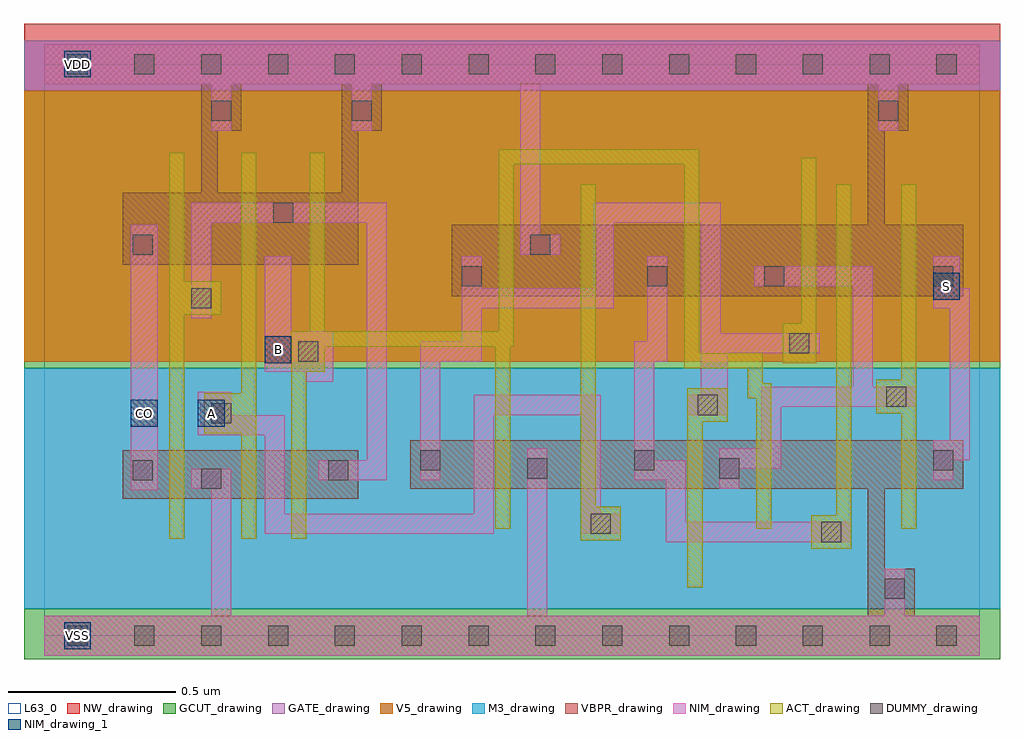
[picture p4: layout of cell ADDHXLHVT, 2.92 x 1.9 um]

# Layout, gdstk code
import gdstk
lib = gdstk.Library(unit=1e-6, precision=5e-10)
def R(c, l, rs):  # rectangles x0, y0, x1, y1
    for r in rs: c.add(gdstk.rectangle(r[:2], r[2:], *l))
def A(c, l, x, y, w, h, nx, ny, dx, dy):  # array of equal rectangles
    R(c, l, [(x+i*dx, y+j*dy, x+i*dx+w, y+j*dy+h) for i in range(nx) for j in range(ny)])
def P(c, l, *ps):  # polygons
    for p in ps: c.add(gdstk.Polygon(p, *l))
VBPR_drawing = (1, 0)
NW_drawing = (2, 0)
ACT_drawing = (3, 0)
GATE_drawing = (4, 0)
GCUT_drawing = (5, 0)
DUMMY_drawing = (6, 0)
NIM_drawing = (7, 0)
NIM_drawing_1 = (7, 1)
M3_drawing = (18, 0)
V5_drawing = (23, 0)
L63_0 = (63, 0)

addhxlhvt = lib.new_cell('ADDHXLHVT')
R(addhxlhvt, VBPR_drawing, [(0,-0.06,2.8,0.06), (0.235,0.41,0.94,0.555), (0,1.65,2.8,1.77)])
P(addhxlhvt, VBPR_drawing, [(2.75,1.23),(2.515,1.23),(2.515,1.51),(2.585,1.51),(2.585,1.65),(2.465,1.65),(2.465,1.23),(1.22,1.23),(1.22,1.015),(2.75,1.015)],
  [(2.75,0.585),(1.095,0.585),(1.095,0.44),(2.465,0.44),(2.465,0.06),(2.605,0.06),(2.605,0.2),(2.515,0.2),(2.515,0.44),(2.75,0.44)],
  [(1.01,1.65),(0.89,1.65),(0.89,1.325),(0.52,1.325),(0.52,1.51),(0.59,1.51),(0.59,1.65),(0.47,1.65),(0.47,1.325),(0.235,1.325),(0.235,1.11),(0.94,1.11),(0.94,1.51),(1.01,1.51)])
R(addhxlhvt, NW_drawing, [(-0.06,0.82,2.86,1.83)])
P(addhxlhvt, ACT_drawing, [(0.375,1.445),(0.42,1.445),(0.42,1.06),(0.53,1.06),(0.53,0.96),(0.42,0.96),(0.42,0.29),(0.375,0.29)],
  [(0.59,1.445),(0.635,1.445),(0.635,0.29),(0.59,0.29),(0.59,0.605),(0.48,0.605),(0.48,0.725),(0.59,0.725)],
  [(0.795,1.445),(0.84,1.445),(0.84,0.91),(1.36,0.91),(1.36,1.455),(1.96,1.455),(1.96,0.845),(2.15,0.845),(2.15,0.755),(2.175,0.755),(2.175,0.32),(2.13,0.32),(2.13,0.71),(2.105,0.71),(2.105,0.8),(1.915,0.8),(1.915,1.41),(1.405,1.41),(1.405,0.865),(1.395,0.865),(1.395,0.32),(1.35,0.32),(1.35,0.865),(0.84,0.865),(0.84,0.79),(0.785,0.79),(0.785,0.29),(0.74,0.29),(0.74,0.91),(0.795,0.91)],
  [(1.605,1.35),(1.65,1.35),(1.65,0.385),(1.725,0.385),(1.725,0.285),(1.605,0.285)],
  [(2.265,1.43),(2.31,1.43),(2.31,0.815),(2.21,0.815),(2.21,0.935),(2.265,0.935)],
  [(2.37,1.35),(2.415,1.35),(2.415,0.26),(2.295,0.26),(2.295,0.36),(2.37,0.36)],
  [(2.565,1.35),(2.61,1.35),(2.61,0.32),(2.565,0.32),(2.565,0.665),(2.49,0.665),(2.49,0.765),(2.565,0.765)],
  [(1.925,0.74),(2.045,0.74),(2.045,0.64),(1.97,0.64),(1.97,0.145),(1.925,0.145)])
R(addhxlhvt, GATE_drawing, [(-0.06,0.08,2.86,0.8), (-0.06,1.63,2.86,1.78)])
R(addhxlhvt, GCUT_drawing, [(-0.06,-0.07,2.86,0.08), (-0.06,0.8,2.86,1.63)])
A(addhxlhvt, DUMMY_drawing, 0.07, -0.03, 0.06, 0.06, 14, 2, 0.2, 1.71)
R(addhxlhvt, DUMMY_drawing, [(2.515,0.11,2.575,0.17), (2.325,0.28,2.385,0.34), (1.635,0.305,1.695,0.365), (0.47,0.44,0.53,0.5), (0.265,0.465,0.325,0.525), (0.85,0.465,0.91,0.525), (1.445,0.47,1.505,0.53), (2.02,0.47,2.08,0.53), (1.125,0.495,1.185,0.555), (1.765,0.495,1.825,0.555), (2.66,0.495,2.72,0.555), (0.5,0.635,0.56,0.695), (1.955,0.66,2.015,0.72), (2.52,0.685,2.58,0.745), (0.76,0.82,0.82,0.88), (2.23,0.845,2.29,0.905), (0.44,0.98,0.5,1.04), (1.25,1.045,1.31,1.105), (1.805,1.045,1.865,1.105), (2.155,1.045,2.215,1.105), (2.66,1.045,2.72,1.105), (0.265,1.14,0.325,1.2), (1.455,1.14,1.515,1.2), (0.685,1.235,0.745,1.295), (0.5,1.54,0.56,1.6), (0.92,1.54,0.98,1.6), (2.495,1.54,2.555,1.6)])
R(addhxlhvt, NIM_drawing, [(1.445,0.06,1.505,0.56), (2.515,0.06,2.575,0.2), (0.26,0.435,0.34,1.23), (0.5,1.51,0.56,1.65), (0.92,1.51,0.98,1.65), (2.495,1.51,2.555,1.65)])
P(addhxlhvt, NIM_drawing, [(0.56,0.5),(0.44,0.5),(0.44,0.44),(0.5,0.44),(0.5,0.06),(0.56,0.06)],
  [(1.545,1.2),(1.485,1.2),(1.485,1.65),(1.425,1.65),(1.425,1.14),(1.545,1.14)],
  [(1.645,1.295),(2.025,1.295),(2.025,0.905),(2.32,0.905),(2.32,0.845),(2.045,0.845),(2.045,0.66),(1.925,0.66),(1.925,0.72),(1.965,0.72),(1.965,1.235),(1.705,1.235),(1.705,0.98),(1.31,0.98),(1.31,0.82),(1.185,0.82),(1.185,0.465),(1.125,0.465),(1.125,0.88),(1.25,0.88),(1.25,1.135),(1.31,1.135),(1.31,1.04),(1.645,1.04)],
  [(0.44,1.295),(1.025,1.295),(1.025,0.465),(0.82,0.465),(0.82,0.525),(0.965,0.525),(0.965,1.235),(0.5,1.235),(0.5,0.95),(0.44,0.95)],
  [(0.66,1.135),(0.74,1.135),(0.74,0.91),(0.865,0.91),(0.865,0.76),(0.785,0.76),(0.785,0.79),(0.66,0.79)],
  [(0.46,0.73),(0.56,0.73),(0.56,0.66),(0.72,0.66),(0.72,0.365),(1.285,0.365),(1.285,0.72),(1.665,0.72),(1.665,0.365),(1.725,0.365),(1.725,0.305),(1.605,0.305),(1.605,0.66),(1.345,0.66),(1.345,0.305),(0.66,0.305),(0.66,0.6),(0.46,0.6)],
  [(1.805,1.135),(1.865,1.135),(1.865,0.82),(1.825,0.82),(1.825,0.525),(1.92,0.525),(1.92,0.34),(2.415,0.34),(2.415,0.28),(1.86,0.28),(1.86,0.465),(1.765,0.465),(1.765,0.88),(1.805,0.88)],
  [(2.66,1.135),(2.74,1.135),(2.74,1.04),(2.77,1.04),(2.77,0.525),(2.72,0.525),(2.72,0.465),(2.66,0.465),(2.66,0.585),(2.71,0.585),(2.71,0.98),(2.66,0.98)],
  [(2.125,1.105),(2.48,1.105),(2.48,0.745),(2.61,0.745),(2.61,0.685),(2.205,0.685),(2.205,0.5),(2.08,0.5),(2.08,0.44),(2.02,0.44),(2.02,0.56),(2.145,0.56),(2.145,0.745),(2.42,0.745),(2.42,1.045),(2.125,1.045)])
R(addhxlhvt, NIM_drawing_1, [(0.06,-0.04,0.14,0.04), (0.26,0.625,0.34,0.705), (0.46,0.625,0.54,0.705), (0.66,0.815,0.74,0.895), (2.66,1.005,2.74,1.085), (0.06,1.67,0.14,1.75)])
R(addhxlhvt, M3_drawing, [(-0.06,0.08,2.86,0.8)])
R(addhxlhvt, V5_drawing, [(-0.06,0.82,2.86,1.63)])
R(addhxlhvt, L63_0, [(0,0,2.8,1.71)])
addhxlhvt.add(gdstk.FlexPath([(0,0),(2.8,0)], 0.12, ends="flush", simple_path=True, layer=7, datatype=0))  # NIM_drawing
addhxlhvt.add(gdstk.FlexPath([(0,1.71),(2.8,1.71)], 0.12, ends="flush", simple_path=True, layer=7, datatype=0))  # NIM_drawing
addhxlhvt.add(gdstk.Label('S', (2.7,1.045), layer=7, texttype=1))
addhxlhvt.add(gdstk.Label('CO', (0.3,0.665), layer=7, texttype=1))
addhxlhvt.add(gdstk.Label('B', (0.7,0.855), layer=7, texttype=1))
addhxlhvt.add(gdstk.Label('A', (0.5,0.665), layer=7, texttype=1))
addhxlhvt.add(gdstk.Label('VDD', (0.1,1.71), layer=7, texttype=1))
addhxlhvt.add(gdstk.Label('VSS', (0.1,0), layer=7, texttype=1))
addhxlhvt.add(gdstk.Label('VSS', (0.1,0), layer=7, texttype=1))
addhxlhvt.add(gdstk.Label('VDD', (0.1,1.71), layer=7, texttype=1))
addhxlhvt.add(gdstk.Label('A', (0.5,0.665), layer=7, texttype=1))
addhxlhvt.add(gdstk.Label('B', (0.7,0.855), layer=7, texttype=1))
addhxlhvt.add(gdstk.Label('CO', (0.3,0.665), layer=7, texttype=1))
addhxlhvt.add(gdstk.Label('S', (2.7,1.045), layer=7, texttype=1))
addhxlhvt.add(gdstk.Label('ADDHXL', (0,0), layer=63, texttype=0))

lib.write_gds('ADDHXLHVT.gds')
